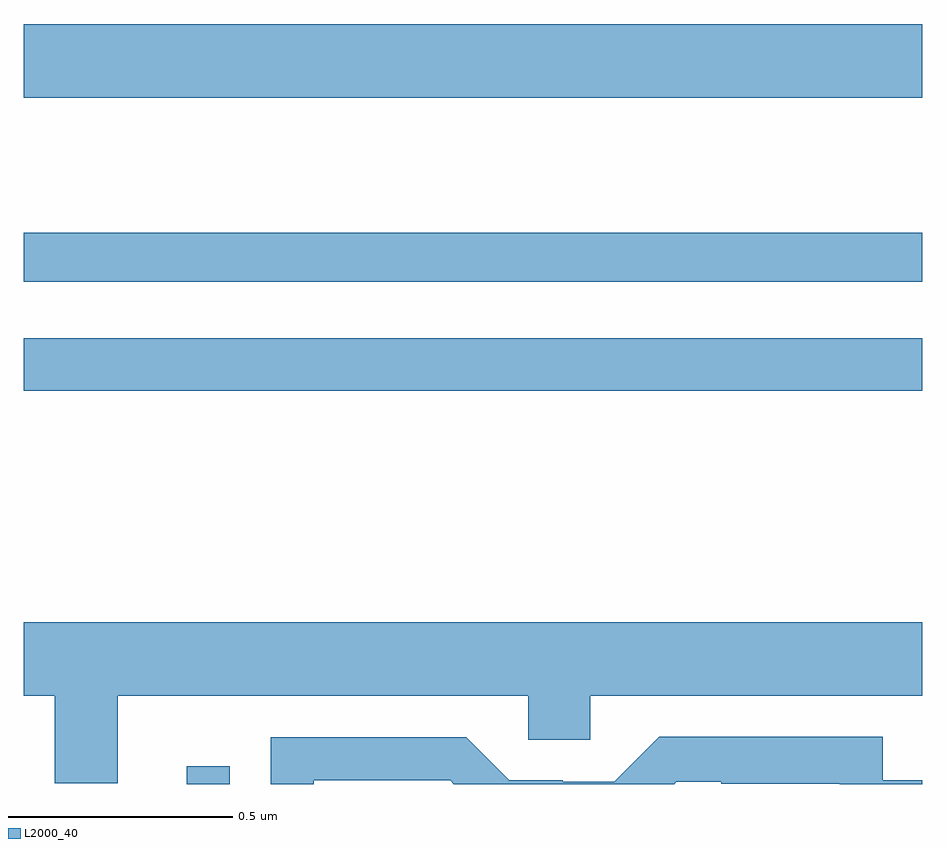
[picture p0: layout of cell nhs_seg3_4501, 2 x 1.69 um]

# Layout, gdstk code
import gdstk
lib = gdstk.Library(unit=1e-6, precision=1e-09)
def R(c, l, rs):  # rectangles x0, y0, x1, y1
    for r in rs: c.add(gdstk.rectangle(r[:2], r[2:], *l))
def P(c, l, *ps):  # polygons
    for p in ps: c.add(gdstk.Polygon(p, *l))
L2000_40 = (2000, 40)

nhs_seg3_4501 = lib.new_cell('nhs_seg3_4501')
R(nhs_seg3_4501, L2000_40, [(167.363,687.4,167.459,687.439), (167,688.276,169,688.392), (167,688.518,169,688.627), (167,688.928,169,689.092)])
P(nhs_seg3_4501, L2000_40, [(167.209,687.596),(168.123,687.596),(168.123,687.498),(168.261,687.498),(168.261,687.596),(169,687.596),(169,687.76),(167,687.76),(167,687.596),(167.069,687.596),(167.069,687.402),(167.209,687.402)],
  [(167.646,687.408),(167.949,687.408),(167.957,687.4),(168.448,687.4),(168.453,687.405),(168.553,687.405),(168.553,687.401),(168.816,687.401),(168.816,687.4),(169,687.4),(169,687.408),(168.912,687.408),(168.912,687.505),(168.415,687.505),(168.315,687.405),(168.2,687.405),(168.2,687.408),(168.081,687.408),(167.985,687.504),(167.55,687.504),(167.55,687.4),(167.646,687.4)])

lib.write_gds('nhs_seg3_4501.gds')
